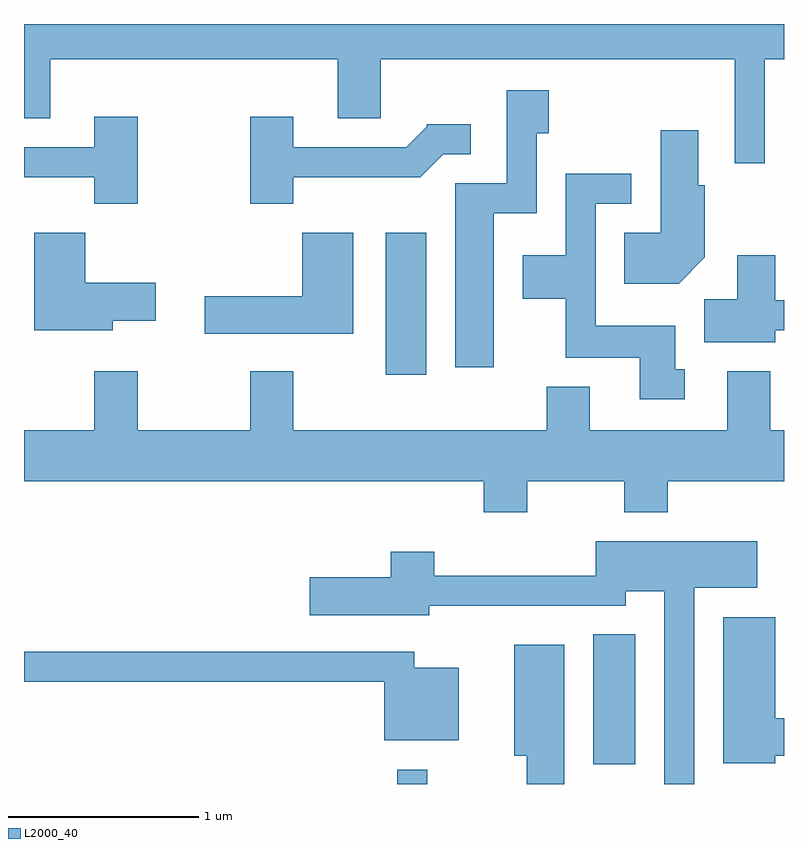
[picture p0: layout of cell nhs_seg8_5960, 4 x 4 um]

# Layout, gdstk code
import gdstk
lib = gdstk.Library(unit=1e-6, precision=1e-09)
def R(c, l, rs):  # rectangles x0, y0, x1, y1
    for r in rs: c.add(gdstk.rectangle(r[:2], r[2:], *l))
def P(c, l, *ps):  # polygons
    for p in ps: c.add(gdstk.Polygon(p, *l))
L2000_40 = (2000, 40)

nhs_seg8_5960 = lib.new_cell('nhs_seg8_5960')
R(nhs_seg8_5960, L2000_40, [(365.576,1870.342,365.734,1870.418), (366.606,1870.446,366.829,1871.129), (365.516,1872.496,365.729,1873.244)])
P(nhs_seg8_5960, L2000_40, [(367.509,1874.156),(367.611,1874.156),(367.611,1874.342),(363.611,1874.342),(363.611,1873.846),(363.749,1873.846),(363.749,1874.156),(365.261,1874.156),(365.261,1873.846),(365.489,1873.846),(365.489,1874.156),(367.351,1874.156),(367.351,1873.608),(367.509,1873.608)],
  [(366.084,1873.346),(366.309,1873.346),(366.309,1873.766),(366.374,1873.766),(366.374,1873.994),(366.151,1873.994),(366.151,1873.504),(365.881,1873.504),(365.881,1872.536),(366.084,1872.536)],
  [(365.029,1873.536),(365.697,1873.536),(365.817,1873.656),(365.963,1873.656),(365.963,1873.814),(365.73,1873.814),(365.73,1873.801),(365.624,1873.694),(365.029,1873.694),(365.029,1873.854),(364.801,1873.854),(364.801,1873.396),(365.029,1873.396)],
  [(364.209,1873.854),(363.981,1873.854),(363.981,1873.694),(363.611,1873.694),(363.611,1873.536),(363.981,1873.536),(363.981,1873.396),(364.209,1873.396)],
  [(367.194,1873.114),(367.194,1873.494),(367.159,1873.494),(367.159,1873.784),(366.961,1873.784),(366.961,1873.244),(366.771,1873.244),(366.771,1872.976),(367.057,1872.976)],
  [(367.088,1872.524),(367.039,1872.524),(367.039,1872.754),(366.619,1872.754),(366.619,1873.396),(366.808,1873.396),(366.808,1873.554),(366.461,1873.554),(366.461,1873.124),(366.236,1873.124),(366.236,1872.896),(366.461,1872.896),(366.461,1872.586),(366.851,1872.586),(366.851,1872.366),(367.088,1872.366)],
  [(365.344,1873.244),(365.076,1873.244),(365.076,1872.909),(364.561,1872.909),(364.561,1872.711),(365.344,1872.711)],
  [(364.079,1872.781),(364.304,1872.781),(364.304,1872.979),(363.934,1872.979),(363.934,1873.244),(363.666,1873.244),(363.666,1872.731),(364.079,1872.731)],
  [(367.564,1872.731),(367.611,1872.731),(367.611,1872.889),(367.564,1872.889),(367.564,1873.124),(367.366,1873.124),(367.366,1872.894),(367.191,1872.894),(367.191,1872.666),(367.564,1872.666)],
  [(366.259,1871.936),(366.771,1871.936),(366.771,1871.771),(366.999,1871.771),(366.999,1871.936),(367.611,1871.936),(367.611,1872.204),(367.539,1872.204),(367.539,1872.514),(367.311,1872.514),(367.311,1872.204),(366.589,1872.204),(366.589,1872.434),(366.361,1872.434),(366.361,1872.204),(365.029,1872.204),(365.029,1872.514),(364.801,1872.514),(364.801,1872.204),(364.209,1872.204),(364.209,1872.514),(363.981,1872.514),(363.981,1872.204),(363.611,1872.204),(363.611,1871.936),(366.031,1871.936),(366.031,1871.771),(366.259,1871.771)],
  [(367.139,1871.376),(367.469,1871.376),(367.469,1871.619),(366.621,1871.619),(366.621,1871.439),(365.769,1871.439),(365.769,1871.564),(365.541,1871.564),(365.541,1871.429),(365.116,1871.429),(365.116,1871.231),(365.744,1871.231),(365.744,1871.281),(366.779,1871.281),(366.779,1871.356),(366.981,1871.356),(366.981,1870.342),(367.139,1870.342)],
  [(367.564,1870.491),(367.611,1870.491),(367.611,1870.689),(367.564,1870.689),(367.564,1871.219),(367.291,1871.219),(367.291,1870.451),(367.564,1870.451)],
  [(366.454,1871.074),(366.191,1871.074),(366.191,1870.491),(366.256,1870.491),(366.256,1870.342),(366.454,1870.342)],
  [(365.899,1870.954),(365.664,1870.954),(365.664,1871.039),(363.611,1871.039),(363.611,1870.881),(365.506,1870.881),(365.506,1870.571),(365.899,1870.571)])

lib.write_gds('nhs_seg8_5960.gds')
